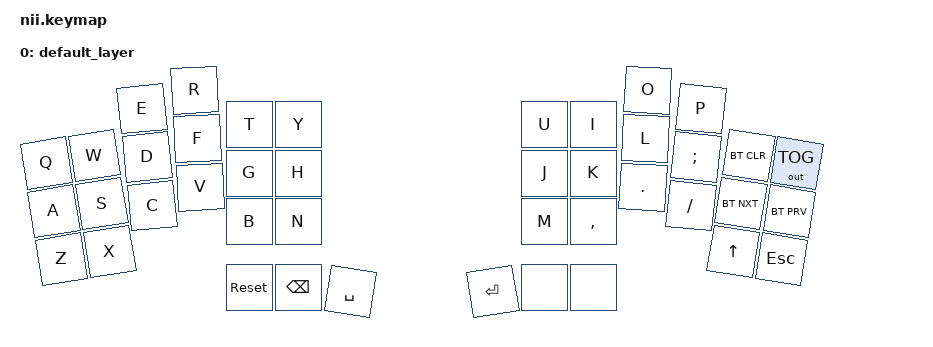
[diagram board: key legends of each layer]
// This file was generated from a template. Edit it to match your keyboard.
// See https://zmk.dev/docs/development/hardware-integration/new-shield for more instructions.

#include <behaviors.dtsi>
#include <dt-bindings/zmk/keys.h>
#include <dt-bindings/zmk/bt.h>
#include <dt-bindings/zmk/outputs.h>

/ {
    keymap {
        compatible = "zmk,keymap";

        default_layer {
            bindings = <
                &kp Q       &kp W       &kp E       &kp R       &kp T       &kp Y           &kp U       &kp I       &kp O       &kp P       &bt BT_CLR  &out OUT_TOG
                &kp A       &kp S       &kp D       &kp F       &kp G       &kp H           &kp J       &kp K       &kp L       &kp SEMI    &bt BT_NXT  &bt BT_PRV
                &kp Z       &kp X       &kp C       &kp V       &kp B       &kp N           &kp M       &kp COMMA   &kp DOT     &kp FSLH    &kp UP      &kp ESC
                                       &sys_reset  &kp BSPC    &kp SPACE    &kp RET        &none       &none
            >;
        };
    };
};
